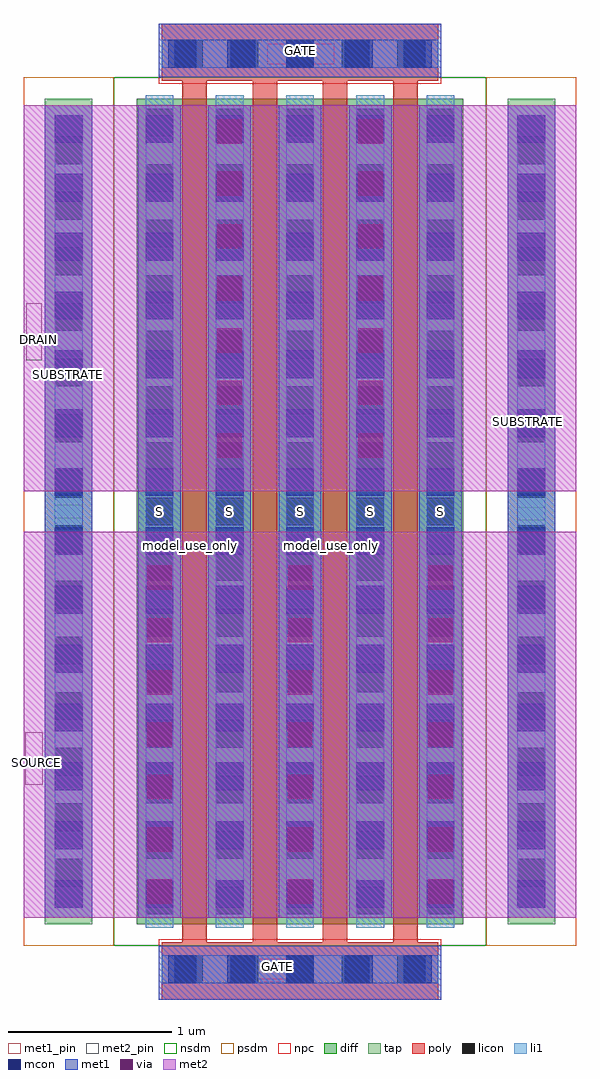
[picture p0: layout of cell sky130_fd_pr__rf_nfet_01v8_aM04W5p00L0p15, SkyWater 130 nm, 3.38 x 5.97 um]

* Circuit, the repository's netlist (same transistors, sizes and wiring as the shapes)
* Copyright 2020 The SkyWater PDK Authors
*
* Licensed under the Apache License, Version 2.0 (the "License");
* you may not use this file except in compliance with the License.
* You may obtain a copy of the License at
*
*     https://www.apache.org/licenses/LICENSE-2.0
*
* Unless required by applicable law or agreed to in writing, software
* distributed under the License is distributed on an "AS IS" BASIS,
* WITHOUT WARRANTIES OR CONDITIONS OF ANY KIND, either express or implied.
* See the License for the specific language governing permissions and
* limitations under the License.
*
* SPDX-License-Identifier: Apache-2.0


.subckt sky130_fd_pr__rf_nfet_01v8_aM04W5p00L0p15 DRAIN GATE SOURCE SUBSTRATE
X0 DRAIN GATE SOURCE SUBSTRATE sky130_fd_pr__nfet_01v8 w=5.05e+06u l=150000u
X1 SOURCE GATE DRAIN SUBSTRATE sky130_fd_pr__nfet_01v8 w=5.05e+06u l=150000u
X2 DRAIN GATE SOURCE SUBSTRATE sky130_fd_pr__nfet_01v8 w=5.05e+06u l=150000u
X3 SOURCE GATE DRAIN SUBSTRATE sky130_fd_pr__nfet_01v8 w=5.05e+06u l=150000u
.ends

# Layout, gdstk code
import gdstk
lib = gdstk.Library(unit=1e-6, precision=1e-09)
def R(c, l, rs):  # rectangles x0, y0, x1, y1
    for r in rs: c.add(gdstk.rectangle(r[:2], r[2:], *l))
def A(c, l, x, y, w, h, nx, ny, dx, dy):  # array of equal rectangles
    R(c, l, [(x+i*dx, y+j*dy, x+i*dx+w, y+j*dy+h) for i in range(nx) for j in range(ny)])
diff = (65, 20)
tap = (65, 44)
poly = (66, 20)
licon = (66, 44)
li1 = (67, 20)
mcon = (67, 44)
met1_pin = (68, 16)
met1 = (68, 20)
via = (68, 44)
met2_pin = (69, 16)
met2 = (69, 20)
nsdm = (93, 44)
psdm = (94, 20)
npc = (95, 20)

sky130_fd_pr__rf_nfet_01 = lib.new_cell('sky130_fd_pr__rf_nfet_01v8_aM04W5p00L0p15')
R(sky130_fd_pr__rf_nfet_01, diff, [(0.69,0.46,2.69,5.51)])
R(sky130_fd_pr__rf_nfet_01, tap, [(0.13,0.46,0.42,5.51), (2.96,0.46,3.25,5.51)])
A(sky130_fd_pr__rf_nfet_01, poly, 0.97, 0.35, 0.15, 5.27, 4, 1, 0.43, 0)
R(sky130_fd_pr__rf_nfet_01, poly, [(0.845,0,2.535,0.35), (0.845,5.62,2.535,5.97)])
A(sky130_fd_pr__rf_nfet_01, licon, 0.925, 0.1, 0.17, 0.17, 5, 2, 0.34, 5.6)
A(sky130_fd_pr__rf_nfet_01, licon, 0.745, 0.52, 0.17, 0.17, 5, 15, 0.43, 0.34)
A(sky130_fd_pr__rf_nfet_01, licon, 0.19, 0.69, 0.17, 0.17, 1, 14, 0, 0.34)
A(sky130_fd_pr__rf_nfet_01, licon, 3.02, 0.69, 0.17, 0.17, 1, 14, 0, 0.34)
A(sky130_fd_pr__rf_nfet_01, li1, 0.745, 0.44, 0.17, 5.09, 5, 1, 0.43, 0)
A(sky130_fd_pr__rf_nfet_01, li1, 0.745, 1.64, 0.17, 2.69, 5, 1, 0.43, 0)
R(sky130_fd_pr__rf_nfet_01, li1, [(0.845,0.1,2.535,0.27), (0.885,0.1,2.495,0.27), (0.19,0.56,0.36,5.41), (3.02,0.56,3.19,5.41), (0.19,0.61,0.36,5.36), (3.02,0.61,3.19,5.36), (0.19,1.63,0.36,4.34), (3.02,1.63,3.19,4.34), (0.845,5.7,2.535,5.87), (0.885,5.7,2.495,5.87)])
A(sky130_fd_pr__rf_nfet_01, mcon, 0.885, 0.1, 0.17, 0.17, 5, 2, 0.36, 5.6)
A(sky130_fd_pr__rf_nfet_01, mcon, 0.19, 0.56, 0.17, 0.17, 1, 14, 0, 0.36)
A(sky130_fd_pr__rf_nfet_01, mcon, 0.745, 0.56, 0.17, 0.17, 5, 14, 0.43, 0.36)
A(sky130_fd_pr__rf_nfet_01, mcon, 3.02, 0.56, 0.17, 0.17, 1, 14, 0, 0.36)
R(sky130_fd_pr__rf_nfet_01, met1_pin, [(1.345,0.125,1.755,0.25), (3.02,2.93,3.19,3.01), (0.19,2.945,0.36,3.025), (1.49,5.72,1.9,5.845)])
A(sky130_fd_pr__rf_nfet_01, met1, 0.7, 0.5, 0.26, 2.24, 3, 1, 0.86, 0)
A(sky130_fd_pr__rf_nfet_01, met1, 0.7, 0.5, 0.26, 4.97, 5, 1, 0.43, 0)
R(sky130_fd_pr__rf_nfet_01, met1, [(0.825,0,2.555,0.33), (0.13,0.5,0.42,5.47), (2.96,0.5,3.25,5.47), (1.13,3.23,1.39,5.47), (1.99,3.23,2.25,5.47), (0.825,5.64,2.555,5.97)])
A(sky130_fd_pr__rf_nfet_01, via, 0.755, 0.585, 0.15, 0.15, 3, 7, 0.86, 0.32)
A(sky130_fd_pr__rf_nfet_01, via, 1.185, 3.315, 0.15, 0.15, 1, 7, 0, 0.32)
A(sky130_fd_pr__rf_nfet_01, via, 2.045, 3.315, 0.15, 0.15, 1, 7, 0, 0.32)
R(sky130_fd_pr__rf_nfet_01, met2_pin, [(0.01,1.315,0.115,1.635), (0.015,3.91,0.11,4.26)])
A(sky130_fd_pr__rf_nfet_01, met2, 0.7, 0.5, 0.26, 2.24, 3, 1, 0.86, 0)
R(sky130_fd_pr__rf_nfet_01, met2, [(0,0.5,3.38,2.86), (0,3.11,3.38,5.47), (1.13,3.23,1.39,5.47), (1.99,3.23,2.25,5.47)])
R(sky130_fd_pr__rf_nfet_01, nsdm, [(0.55,0.33,2.83,5.64)])
R(sky130_fd_pr__rf_nfet_01, psdm, [(0,0.33,0.55,5.64), (2.83,0.33,3.38,5.64)])
R(sky130_fd_pr__rf_nfet_01, npc, [(0.825,0,2.555,0.37), (0.825,5.6,2.555,5.97)])
sky130_fd_pr__rf_nfet_01.add(gdstk.Label('model_use_only', (1.02,2.775), layer=66, texttype=83))
sky130_fd_pr__rf_nfet_01.add(gdstk.Label('model_use_only', (1.45,2.775), layer=66, texttype=83))
sky130_fd_pr__rf_nfet_01.add(gdstk.Label('model_use_only', (1.88,2.775), layer=66, texttype=83))
sky130_fd_pr__rf_nfet_01.add(gdstk.Label('model_use_only', (2.31,2.775), layer=66, texttype=83))
sky130_fd_pr__rf_nfet_01.add(gdstk.Label('S', (2.12,2.985), layer=83, texttype=44))
sky130_fd_pr__rf_nfet_01.add(gdstk.Label('S', (1.69,2.985), layer=83, texttype=44))
sky130_fd_pr__rf_nfet_01.add(gdstk.Label('S', (1.26,2.985), layer=83, texttype=44))
sky130_fd_pr__rf_nfet_01.add(gdstk.Label('S', (0.83,2.985), layer=83, texttype=44))
sky130_fd_pr__rf_nfet_01.add(gdstk.Label('S', (2.55,2.985), layer=83, texttype=44))
sky130_fd_pr__rf_nfet_01.add(gdstk.Label('D', (2.12,2.985), layer=83, texttype=44))
sky130_fd_pr__rf_nfet_01.add(gdstk.Label('S', (1.69,2.985), layer=83, texttype=44))
sky130_fd_pr__rf_nfet_01.add(gdstk.Label('D', (1.26,2.985), layer=83, texttype=44))
sky130_fd_pr__rf_nfet_01.add(gdstk.Label('S', (0.83,2.985), layer=83, texttype=44))
sky130_fd_pr__rf_nfet_01.add(gdstk.Label('SOURCE', (0.08,1.45), layer=69, texttype=5))
sky130_fd_pr__rf_nfet_01.add(gdstk.Label('DRAIN', (0.09,4.035), layer=69, texttype=5))
sky130_fd_pr__rf_nfet_01.add(gdstk.Label('SUBSTRATE', (3.09,3.535), layer=68, texttype=5))
sky130_fd_pr__rf_nfet_01.add(gdstk.Label('GATE', (1.695,5.805), layer=68, texttype=5))
sky130_fd_pr__rf_nfet_01.add(gdstk.Label('GATE', (1.55,0.2), layer=68, texttype=5))
sky130_fd_pr__rf_nfet_01.add(gdstk.Label('SUBSTRATE', (0.275,3.825), layer=68, texttype=5))

lib.write_gds('sky130_fd_pr__rf_nfet_01v8_aM04W5p00L0p15.gds')
